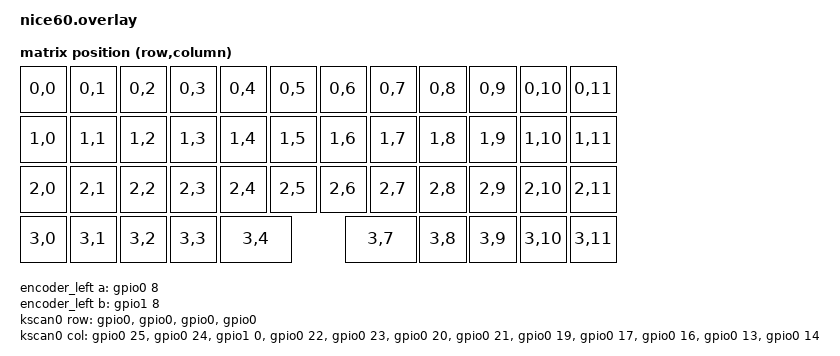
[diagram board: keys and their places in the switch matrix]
#include <physical_layouts.dtsi>
#include <dt-bindings/pwm/pwm.h>
#include <dt-bindings/pinctrl/nrf-pinctrl.h>

&default_transform {
    columns = <12>;
    rows = <4>;
    map = <
        RC(0,0) RC(0,1) RC(0,2) RC(0,3) RC(0,4) RC(0,5) RC(0,6) RC(0,7) RC(0,8) RC(0,9) RC(0,10) RC(0,11)
        RC(1,0) RC(1,1) RC(1,2) RC(1,3) RC(1,4) RC(1,5) RC(1,6) RC(1,7) RC(1,8) RC(1,9) RC(1,10) RC(1,11)
        RC(2,0) RC(2,1) RC(2,2) RC(2,3) RC(2,4) RC(2,5) RC(2,6) RC(2,7) RC(2,8) RC(2,9) RC(2,10) RC(2,11)
        RC(3,0) RC(3,1) RC(3,2) RC(3,3) RC(3,4)                 RC(3,7) RC(3,8) RC(3,9) RC(3,10) RC(3,11)
    >;
};

&kscan0 {
  row-gpios = <&gpio0 4(GPIO_ACTIVE_HIGH | GPIO_PULL_DOWN)>,
        <&gpio0 5(GPIO_ACTIVE_HIGH | GPIO_PULL_DOWN)>,
        <&gpio0 6(GPIO_ACTIVE_HIGH | GPIO_PULL_DOWN)>,
        <&gpio0 7(GPIO_ACTIVE_HIGH | GPIO_PULL_DOWN)>;
  col-gpios = <&gpio0 25 GPIO_ACTIVE_HIGH>, 
        <&gpio0 24 GPIO_ACTIVE_HIGH>,
        <&gpio1 0 GPIO_ACTIVE_HIGH>, 
        <&gpio0 22 GPIO_ACTIVE_HIGH>,
        <&gpio0 23 GPIO_ACTIVE_HIGH>, 
        <&gpio0 20 GPIO_ACTIVE_HIGH>,
        <&gpio0 21 GPIO_ACTIVE_HIGH>, 
        <&gpio0 19 GPIO_ACTIVE_HIGH>,
        <&gpio0 17 GPIO_ACTIVE_HIGH>, 
        <&gpio0 16 GPIO_ACTIVE_HIGH>,
        <&gpio0 13 GPIO_ACTIVE_HIGH>, 
        <&gpio0 14 GPIO_ACTIVE_HIGH>;
};

/ {
    blue_led_test {
         compatible = "regulator-fixed";
         regulator-name = "blue_led_test";
         enable-gpios = <&gpio0 15 GPIO_ACTIVE_HIGH>;
         regulator-boot-on;
         regulator-always-on;
    };
};

&pinctrl {
    pwm0_default: pwm0_default {
        group1 {
            psels = <NRF_PSEL(PWM_OUT0, 1, 9)>;
        };
    };
    pwm0_sleep: pwm0_sleep {
        group1 {
            psels = <NRF_PSEL(PWM_OUT0, 1, 9)>;
            low-power-enable;
        };
    };
};

&pwm0 {
    status = "okay";
    pinctrl-0 = <&pwm0_default>;
    pinctrl-1 = <&pwm0_sleep>;
    pinctrl-names = "default", "sleep";
};

/ {
    backlight: pwmleds {
        compatible = "pwm-leds";
        pwm_led_0: pwm_led_0 {
            pwms = <&pwm0 0 PWM_MSEC(10) PWM_POLARITY_NORMAL>;
        };
    };
    
    extra_power_2: extra_power_2 {
         compatible = "regulator-fixed";
         regulator-name = "extra_power_2";
         enable-gpios = <&gpio0 3 GPIO_ACTIVE_HIGH>;
         regulator-boot-on;
         regulator-always-on;
    };

    encoder_left: encoder_left {
        compatible = "alps,ec11";
        label = "LEFT_ENCODER";
        a-gpios = <&gpio0 8 (GPIO_ACTIVE_HIGH | GPIO_PULL_UP)>;
        b-gpios = <&gpio1 8 (GPIO_ACTIVE_HIGH | GPIO_PULL_UP)>;
        steps = <24>;
        status = "okay";
    };

    sensors: sensors {
        compatible = "zmk,keymap-sensors";
        sensors = <&encoder_left>;
        triggers-per-rotation = <24>;
    };
};

&vbatt {
    compatible = "zmk,battery-voltage-divider";
    io-channels = <&adc 0>;
    output-ohms = <503000>;
    full-ohms = <(1000000 + 503000)>;
};

/ {
    chosen {
        zmk,physical-layout = &physical_layout0;
        zmk,backlight = &backlight;
    };

    physical_layout0: physical_layout_0 {
        compatible = "zmk,physical-layout";
        display-name = "Default Layout";
        transform = <&default_transform>;
        kscan = <&kscan0>;

        keys = <
            /* Row 0 */
            &key_physical_attrs 100 100 0 0 0 0 0
            &key_physical_attrs 100 100 100 0 0 0 0
            &key_physical_attrs 100 100 200 0 0 0 0
            &key_physical_attrs 100 100 300 0 0 0 0
            &key_physical_attrs 100 100 400 0 0 0 0
            &key_physical_attrs 100 100 500 0 0 0 0
            &key_physical_attrs 100 100 600 0 0 0 0
            &key_physical_attrs 100 100 700 0 0 0 0
            &key_physical_attrs 100 100 800 0 0 0 0
            &key_physical_attrs 100 100 900 0 0 0 0
            &key_physical_attrs 100 100 1000 0 0 0 0
            &key_physical_attrs 100 100 1100 0 0 0 0

            /* Row 1 */
            &key_physical_attrs 100 100 0 100 0 0 0
            &key_physical_attrs 100 100 100 100 0 0 0
            &key_physical_attrs 100 100 200 100 0 0 0
            &key_physical_attrs 100 100 300 100 0 0 0
            &key_physical_attrs 100 100 400 100 0 0 0
            &key_physical_attrs 100 100 500 100 0 0 0
            &key_physical_attrs 100 100 600 100 0 0 0
            &key_physical_attrs 100 100 700 100 0 0 0
            &key_physical_attrs 100 100 800 100 0 0 0
            &key_physical_attrs 100 100 900 100 0 0 0
            &key_physical_attrs 100 100 1000 100 0 0 0
            &key_physical_attrs 100 100 1100 100 0 0 0

            /* Row 2 */
            &key_physical_attrs 100 100 0 200 0 0 0
            &key_physical_attrs 100 100 100 200 0 0 0
            &key_physical_attrs 100 100 200 200 0 0 0
            &key_physical_attrs 100 100 300 200 0 0 0
            &key_physical_attrs 100 100 400 200 0 0 0
            &key_physical_attrs 100 100 500 200 0 0 0
            &key_physical_attrs 100 100 600 200 0 0 0
            &key_physical_attrs 100 100 700 200 0 0 0
            &key_physical_attrs 100 100 800 200 0 0 0
            &key_physical_attrs 100 100 900 200 0 0 0
            &key_physical_attrs 100 100 1000 200 0 0 0
            &key_physical_attrs 100 100 1100 200 0 0 0

            /* Row 3 (Bottom Row) */
            &key_physical_attrs 100 100 0 300 0 0 0      /* Fn1 */
            &key_physical_attrs 100 100 100 300 0 0 0    /* Option */
            &key_physical_attrs 100 100 200 300 0 0 0    /* Cmd */
            &key_physical_attrs 100 100 300 300 0 0 0    /* 英数 */
            &key_physical_attrs 150 100 400 300 0 0 0    /* Space (1.5U) */
            
            /* (x=550にエンコーダーがありますが、キースイッチではないためここではスキップします) */

            &key_physical_attrs 150 100 650 300 0 0 0    /* Enter (1.5U) */
            &key_physical_attrs 100 100 800 300 0 0 0    /* かな */
            &key_physical_attrs 100 100 900 300 0 0 0    /* = - */
            &key_physical_attrs 100 100 1000 300 0 0 0   /* ~ ^ */
            &key_physical_attrs 100 100 1100 300 0 0 0   /* Fn2 */
        >;
    };
};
